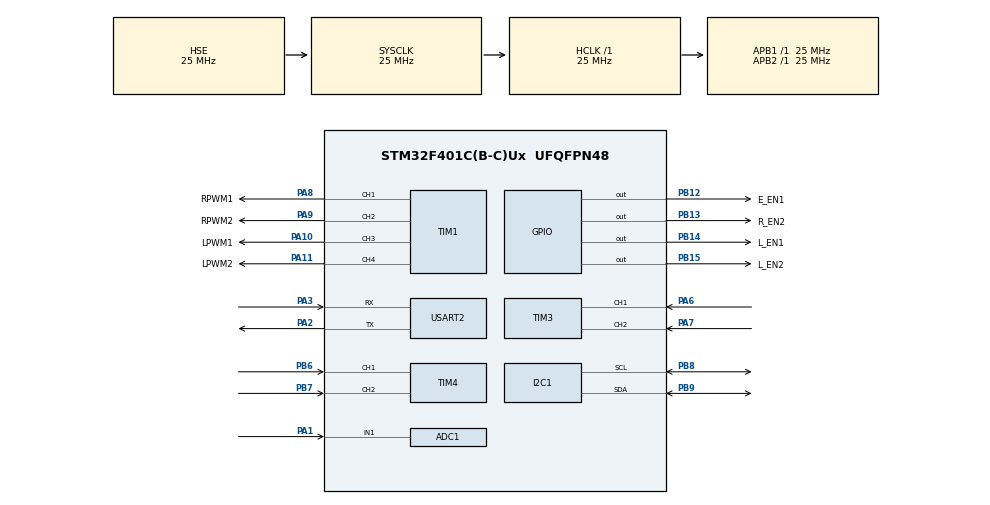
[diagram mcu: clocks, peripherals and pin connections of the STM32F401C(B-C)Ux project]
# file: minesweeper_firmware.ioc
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ADC1.Channel-0\#ChannelRegularConversion=ADC_CHANNEL_1
ADC1.NbrOfConversionFlag=1
ADC1.Rank-0\#ChannelRegularConversion=1
ADC1.SamplingTime-0\#ChannelRegularConversion=ADC_SAMPLETIME_3CYCLES
ADC1.master=1
Dma.Request0=USART2_TX
Dma.Request1=USART2_RX
Dma.USART2_RX.1.Direction=DMA_PERIPH_TO_MEMORY
Dma.USART2_RX.1.FIFOMode=DMA_FIFOMODE_DISABLE
Dma.USART2_RX.1.Instance=DMA1_Stream5
Dma.USART2_RX.1.MemDataAlignment=DMA_MDATAALIGN_BYTE
Dma.USART2_RX.1.MemInc=DMA_MINC_ENABLE
Dma.USART2_RX.1.Mode=DMA_CIRCULAR
Dma.USART2_RX.1.PeriphDataAlignment=DMA_PDATAALIGN_BYTE
Dma.USART2_RX.1.PeriphInc=DMA_PINC_DISABLE
Dma.USART2_RX.1.Priority=DMA_PRIORITY_LOW
Dma.USART2_TX.0.Direction=DMA_MEMORY_TO_PERIPH
Dma.USART2_TX.0.FIFOMode=DMA_FIFOMODE_DISABLE
Dma.USART2_TX.0.Instance=DMA1_Stream6
Dma.USART2_TX.0.MemDataAlignment=DMA_MDATAALIGN_BYTE
Dma.USART2_TX.0.MemInc=DMA_MINC_ENABLE
Dma.USART2_TX.0.Mode=DMA_NORMAL
Dma.USART2_TX.0.PeriphDataAlignment=DMA_PDATAALIGN_BYTE
Dma.USART2_TX.0.PeriphInc=DMA_PINC_DISABLE
Dma.USART2_TX.0.Priority=DMA_PRIORITY_LOW
Mcu.Family=STM32F4
Mcu.Name=STM32F401C(B-C)Ux
Mcu.Package=UFQFPN48
NVIC.DMA1_Stream5_IRQn=true\:0\:0\:false\:false\:true\:false\:true\:true
NVIC.DMA1_Stream6_IRQn=true\:0\:0\:false\:false\:true\:false\:true\:true
NVIC.PriorityGroup=NVIC_PRIORITYGROUP_4
NVIC.USART2_IRQn=true\:0\:0\:false\:false\:true\:true\:true\:true
PA1.Signal=ADCx_IN1
PA10.GPIO_Label=LPWM1
PA10.Signal=S_TIM1_CH3
PA11.GPIO_Label=LPWM2
PA11.Signal=S_TIM1_CH4
PA2.Mode=Asynchronous
PA2.Signal=USART2_TX
PA3.Mode=Asynchronous
PA3.Signal=USART2_RX
PA6.Signal=S_TIM3_CH1
PA7.Signal=S_TIM3_CH2
PA8.GPIO_Label=RPWM1
PA8.Signal=S_TIM1_CH1
PA9.GPIO_Label=RPWM2
PA9.Signal=S_TIM1_CH2
PB12.GPIO_Label=E_EN1
PB12.Signal=GPIO_Output
PB13.GPIO_Label=R_EN2
PB13.Signal=GPIO_Output
PB14.GPIO_Label=L_EN1
PB14.Signal=GPIO_Output
PB15.GPIO_Label=L_EN2
PB15.Signal=GPIO_Output
PB6.Signal=S_TIM4_CH1
PB7.Signal=S_TIM4_CH2
PB8.Mode=I2C
PB8.Signal=I2C1_SCL
PB9.Mode=I2C
PB9.Signal=I2C1_SDA
PH0\ -\ OSC_IN.Mode=HSE-External-Oscillator
PH0\ -\ OSC_IN.Signal=RCC_OSC_IN
PH1\ -\ OSC_OUT.Mode=HSE-External-Oscillator
PH1\ -\ OSC_OUT.Signal=RCC_OSC_OUT
ProjectManager.HeapSize=0x200
ProjectManager.StackSize=0x400
ProjectManager.TargetToolchain=STM32CubeIDE
RCC.AHBFreq_Value=25000000
RCC.APB1Freq_Value=25000000
RCC.APB1TimFreq_Value=25000000
RCC.APB2Freq_Value=25000000
RCC.APB2TimFreq_Value=25000000
RCC.CortexFreq_Value=25000000
RCC.HCLKFreq_Value=25000000
RCC.HSE_VALUE=25000000
RCC.HSI_VALUE=16000000
RCC.LSE_VALUE=32768
RCC.SYSCLKFreq_VALUE=25000000
RCC.SYSCLKSource=RCC_SYSCLKSOURCE_HSE
RCC.VCOOutputFreq_Value=192000000
SH.ADCx_IN1.0=ADC1_IN1,IN1
SH.S_TIM1_CH1.0=TIM1_CH1,PWM Generation1 CH1
SH.S_TIM1_CH2.0=TIM1_CH2,PWM Generation2 CH2
SH.S_TIM1_CH3.0=TIM1_CH3,PWM Generation3 CH3
SH.S_TIM1_CH4.0=TIM1_CH4,PWM Generation4 CH4
SH.S_TIM3_CH1.0=TIM3_CH1,Encoder_Interface
SH.S_TIM3_CH2.0=TIM3_CH2,Encoder_Interface
SH.S_TIM4_CH1.0=TIM4_CH1,Encoder_Interface
SH.S_TIM4_CH2.0=TIM4_CH2,Encoder_Interface
TIM1.Channel-PWM\ Generation1\ CH1=TIM_CHANNEL_1
TIM1.Channel-PWM\ Generation2\ CH2=TIM_CHANNEL_2
TIM1.Channel-PWM\ Generation3\ CH3=TIM_CHANNEL_3
TIM1.Channel-PWM\ Generation4\ CH4=TIM_CHANNEL_4
TIM3.AutoReloadPreload=TIM_AUTORELOAD_PRELOAD_ENABLE
TIM3.EncoderMode=TIM_ENCODERMODE_TI12
TIM4.AutoReloadPreload=TIM_AUTORELOAD_PRELOAD_ENABLE
TIM4.EncoderMode=TIM_ENCODERMODE_TI12
USART2.VirtualMode=VM_ASYNC
VP_TIM1_VS_ClockSourceINT.Mode=Internal
board=custom

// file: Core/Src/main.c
/* USER CODE BEGIN Header */
/**
  ******************************************************************************
  * @file           : main.c
  * @brief          : Main program body
  ******************************************************************************
  * @attention
  *
  * Copyright (c) 2026 STMicroelectronics.
  * All rights reserved.
  *
  * This software is licensed under terms that can be found in the LICENSE file
  * in the root directory of this software component.
  * If no LICENSE file comes with this software, it is provided AS-IS.
  *
  ******************************************************************************
  */
/* USER CODE END Header */
#include "../Inc/main.h"
#include <string.h>
#include <stddef.h>

/* USER CODE BEGIN Includes */
#include "../Inc/mpu6050.h"
#include "../Inc/cobs.h"
#include "../Inc/protocol.h"
/* USER CODE END Includes */

ADC_HandleTypeDef hadc1;

I2C_HandleTypeDef hi2c1;

TIM_HandleTypeDef htim1;
TIM_HandleTypeDef htim3;
TIM_HandleTypeDef htim4;

UART_HandleTypeDef huart2;
DMA_HandleTypeDef hdma_usart2_tx;
DMA_HandleTypeDef hdma_usart2_rx;

/* USER CODE BEGIN PV */

#define UART2_RX_BUFFER_SIZE 128U
#define TELEMETRY_PERIOD_MS 20U
#define COMMAND_WATCHDOG_MS 250U
#define METAL_DETECTOR_OVERSAMPLE_COUNT 8U
#define UART2_TX_BUFFER_SIZE (COBS_MAX_ENCODED_SIZE(sizeof(TelemetryPacket_t)) + 1U)

static uint8_t uart2_rx_buffer[UART2_RX_BUFFER_SIZE];
static uint8_t uart2_tx_buffer[UART2_TX_BUFFER_SIZE];
static volatile uint16_t uart2_rx_length;
static volatile uint8_t uart2_rx_ready;
static volatile uint8_t uart2_tx_busy;

static MPU6050_Data_t mpu6050_data;
static uint32_t telemetry_last_tick;
static uint8_t telemetry_seq;

static volatile int16_t command_left_duty;
static volatile int16_t command_right_duty;
static volatile uint32_t command_last_tick;

/* USER CODE END PV */

static uint16_t Read_Metal_Detector(void);
static void Apply_Motor_Command(int16_t left_duty, int16_t right_duty);
static void Process_Command_Frame(const uint8_t *frame, size_t len);
static void Send_Telemetry(void);
void SystemClock_Config(void);
static void MX_GPIO_Init(void);
static void MX_DMA_Init(void);
static void MX_ADC1_Init(void);
static void MX_I2C1_Init(void);
static void MX_TIM1_Init(void);
static void MX_TIM3_Init(void);
static void MX_TIM4_Init(void);
static void MX_USART2_UART_Init(void);

/* USER CODE BEGIN 0 */

static uint16_t Read_Metal_Detector(void)
{
  uint32_t accumulator = 0U;

  for (uint32_t i = 0U; i < METAL_DETECTOR_OVERSAMPLE_COUNT; i++)
  {
    HAL_ADC_Start(&hadc1);
    if (HAL_ADC_PollForConversion(&hadc1, 10U) == HAL_OK)
    {
      accumulator += HAL_ADC_GetValue(&hadc1);
    }
    HAL_ADC_Stop(&hadc1);
  }

  return (uint16_t)(accumulator / METAL_DETECTOR_OVERSAMPLE_COUNT);
}

/* TODO: drive TIM1 CCRx duty + E_EN1/R_EN2/L_EN1/L_EN2 direction pins once
 * the H-bridge wiring/polarity is confirmed. Left at a stub so the watchdog
 * has a safe (no-op today, zero-PWM once wired) target to call. */
static void Apply_Motor_Command(int16_t left_duty, int16_t right_duty)
{
  (void)left_duty;
  (void)right_duty;
}

static void Process_Command_Frame(const uint8_t *frame, size_t len)
{
  uint8_t decoded[sizeof(CommandPacket_t)];
  size_t decoded_len = cobs_decode(frame, len, decoded);
  CommandPacket_t cmd;
  uint8_t crc;

  if (decoded_len != sizeof(CommandPacket_t))
  {
    return;
  }

  memcpy(&cmd, decoded, sizeof(cmd));

  crc = protocol_crc8((const uint8_t *)&cmd, offsetof(CommandPacket_t, crc));
  if (crc != cmd.crc)
  {
    return;
  }

  command_left_duty = cmd.left_duty;
  command_right_duty = cmd.right_duty;
  command_last_tick = HAL_GetTick();

  Apply_Motor_Command(cmd.left_duty, cmd.right_duty);
}

static void Send_Telemetry(void)
{
  TelemetryPacket_t packet;
  size_t encoded_len;

  if (MPU6050_ReadAll(&hi2c1, MPU6050_ADDR_DEFAULT, &mpu6050_data) != HAL_OK)
  {
    return;
  }

  packet.seq = telemetry_seq++;
  packet.encoder_left = (int32_t)(int16_t)__HAL_TIM_GET_COUNTER(&htim4);
  packet.encoder_right = (int32_t)(int16_t)__HAL_TIM_GET_COUNTER(&htim3);
  packet.metal_detector_raw = Read_Metal_Detector();
  packet.accel_x_raw = mpu6050_data.accel_x_raw;
  packet.accel_y_raw = mpu6050_data.accel_y_raw;
  packet.accel_z_raw = mpu6050_data.accel_z_raw;
  packet.gyro_x_raw = mpu6050_data.gyro_x_raw;
  packet.gyro_y_raw = mpu6050_data.gyro_y_raw;
  packet.gyro_z_raw = mpu6050_data.gyro_z_raw;
  packet.crc = protocol_crc8((const uint8_t *)&packet, offsetof(TelemetryPacket_t, crc));

  encoded_len = cobs_encode((const uint8_t *)&packet, sizeof(packet), uart2_tx_buffer);
  uart2_tx_buffer[encoded_len++] = 0x00U; /* frame delimiter */

  uart2_tx_busy = 1U;
  if (HAL_UART_Transmit_DMA(&huart2, uart2_tx_buffer, (uint16_t)encoded_len) != HAL_OK)
  {
    uart2_tx_busy = 0U;
    Error_Handler();
  }
}

/* USER CODE END 0 */

int main(void)
{

  /* MCU Configuration--------------------------------------------------------*/

  /* Reset of all peripherals, Initializes the Flash interface and the Systick. */
  HAL_Init();

  /* Configure the system clock */
  SystemClock_Config();

  /* Initialize all configured peripherals */
  MX_GPIO_Init();
  MX_DMA_Init();
  MX_ADC1_Init();
  MX_I2C1_Init();
  MX_TIM1_Init();
  MX_TIM3_Init();
  MX_TIM4_Init();
  MX_USART2_UART_Init();
  /* USER CODE BEGIN 2 */

  if (HAL_UARTEx_ReceiveToIdle_DMA(&huart2, uart2_rx_buffer,
                                   UART2_RX_BUFFER_SIZE) != HAL_OK)
  {
    Error_Handler();
  }

  if (MPU6050_Init(&hi2c1, MPU6050_ADDR_DEFAULT) != HAL_OK)
  {
    Error_Handler();
  }
  telemetry_last_tick = HAL_GetTick();
  command_last_tick = HAL_GetTick();

  /* USER CODE END 2 */

  /* Infinite loop */
  while (1)
  {

    /* USER CODE BEGIN 3 */
    if (uart2_rx_ready != 0U)
    {
      uint8_t frame_copy[UART2_RX_BUFFER_SIZE];
      uint16_t rx_length = uart2_rx_length;
      size_t frame_start = 0U;
      size_t i;

      if (rx_length > UART2_RX_BUFFER_SIZE)
      {
        rx_length = UART2_RX_BUFFER_SIZE;
      }

      __disable_irq();
      memcpy(frame_copy, uart2_rx_buffer, rx_length);
      uart2_rx_ready = 0U;
      __enable_irq();

      /* Frames are COBS blocks delimited by 0x00; split and decode each one. */
      for (i = 0U; i < rx_length; i++)
      {
        if (frame_copy[i] == 0U)
        {
          if (i > frame_start)
          {
            Process_Command_Frame(&frame_copy[frame_start], i - frame_start);
          }
          frame_start = i + 1U;
        }
      }
    }

    if ((HAL_GetTick() - command_last_tick) >= COMMAND_WATCHDOG_MS)
    {
      Apply_Motor_Command(0, 0);
    }

    if (uart2_tx_busy == 0U &&
        (HAL_GetTick() - telemetry_last_tick) >= TELEMETRY_PERIOD_MS)
    {
      telemetry_last_tick = HAL_GetTick();
      Send_Telemetry();
    }
  }
  /* USER CODE END 3 */
}

void SystemClock_Config(void)
{
  RCC_OscInitTypeDef RCC_OscInitStruct = {0};
  RCC_ClkInitTypeDef RCC_ClkInitStruct = {0};

  /** Configure the main internal regulator output voltage
  */
  __HAL_RCC_PWR_CLK_ENABLE();
  __HAL_PWR_VOLTAGESCALING_CONFIG(PWR_REGULATOR_VOLTAGE_SCALE2);

  /** Initializes the RCC Oscillators according to the specified parameters
  * in the RCC_OscInitTypeDef structure.
  */
  RCC_OscInitStruct.OscillatorType = RCC_OSCILLATORTYPE_HSE;
  RCC_OscInitStruct.HSEState = RCC_HSE_ON;
  RCC_OscInitStruct.PLL.PLLState = RCC_PLL_NONE;
  if (HAL_RCC_OscConfig(&RCC_OscInitStruct) != HAL_OK)
  {
    Error_Handler();
  }

  /** Initializes the CPU, AHB and APB buses clocks
  */
  RCC_ClkInitStruct.ClockType = RCC_CLOCKTYPE_HCLK|RCC_CLOCKTYPE_SYSCLK
                              |RCC_CLOCKTYPE_PCLK1|RCC_CLOCKTYPE_PCLK2;
  RCC_ClkInitStruct.SYSCLKSource = RCC_SYSCLKSOURCE_HSE;
  RCC_ClkInitStruct.AHBCLKDivider = RCC_SYSCLK_DIV1;
  RCC_ClkInitStruct.APB1CLKDivider = RCC_HCLK_DIV1;
  RCC_ClkInitStruct.APB2CLKDivider = RCC_HCLK_DIV1;

  if (HAL_RCC_ClockConfig(&RCC_ClkInitStruct, FLASH_LATENCY_0) != HAL_OK)
  {
    Error_Handler();
  }
}

static void MX_ADC1_Init(void)
{

  ADC_ChannelConfTypeDef sConfig = {0};

  /** Configure the global features of the ADC (Clock, Resolution, Data Alignment and number of conversion)
  */
  hadc1.Instance = ADC1;
  hadc1.Init.ClockPrescaler = ADC_CLOCK_SYNC_PCLK_DIV2;
  hadc1.Init.Resolution = ADC_RESOLUTION_12B;
  hadc1.Init.ScanConvMode = DISABLE;
  hadc1.Init.ContinuousConvMode = DISABLE;
  hadc1.Init.DiscontinuousConvMode = DISABLE;
  hadc1.Init.ExternalTrigConvEdge = ADC_EXTERNALTRIGCONVEDGE_NONE;
  hadc1.Init.ExternalTrigConv = ADC_SOFTWARE_START;
  hadc1.Init.DataAlign = ADC_DATAALIGN_RIGHT;
  hadc1.Init.NbrOfConversion = 1;
  hadc1.Init.DMAContinuousRequests = DISABLE;
  hadc1.Init.EOCSelection = ADC_EOC_SINGLE_CONV;
  if (HAL_ADC_Init(&hadc1) != HAL_OK)
  {
    Error_Handler();
  }

  /** Configure for the selected ADC regular channel its corresponding rank in the sequencer and its sample time.
  */
  sConfig.Channel = ADC_CHANNEL_1;
  sConfig.Rank = 1;
  sConfig.SamplingTime = ADC_SAMPLETIME_3CYCLES;
  if (HAL_ADC_ConfigChannel(&hadc1, &sConfig) != HAL_OK)
  {
    Error_Handler();
  }

}

static void MX_I2C1_Init(void)
{

  hi2c1.Instance = I2C1;
  hi2c1.Init.ClockSpeed = 100000;
  hi2c1.Init.DutyCycle = I2C_DUTYCYCLE_2;
  hi2c1.Init.OwnAddress1 = 0;
  hi2c1.Init.AddressingMode = I2C_ADDRESSINGMODE_7BIT;
  hi2c1.Init.DualAddressMode = I2C_DUALADDRESS_DISABLE;
  hi2c1.Init.OwnAddress2 = 0;
  hi2c1.Init.GeneralCallMode = I2C_GENERALCALL_DISABLE;
  hi2c1.Init.NoStretchMode = I2C_NOSTRETCH_DISABLE;
  if (HAL_I2C_Init(&hi2c1) != HAL_OK)
  {
    Error_Handler();
  }

}

static void MX_TIM1_Init(void)
{

  TIM_ClockConfigTypeDef sClockSourceConfig = {0};
  TIM_MasterConfigTypeDef sMasterConfig = {0};
  TIM_OC_InitTypeDef sConfigOC = {0};
  TIM_BreakDeadTimeConfigTypeDef sBreakDeadTimeConfig = {0};

  htim1.Instance = TIM1;
  htim1.Init.Prescaler = 0;
  htim1.Init.CounterMode = TIM_COUNTERMODE_UP;
  htim1.Init.Period = 65535;
  htim1.Init.ClockDivision = TIM_CLOCKDIVISION_DIV1;
  htim1.Init.RepetitionCounter = 0;
  htim1.Init.AutoReloadPreload = TIM_AUTORELOAD_PRELOAD_DISABLE;
  if (HAL_TIM_Base_Init(&htim1) != HAL_OK)
  {
    Error_Handler();
  }
  sClockSourceConfig.ClockSource = TIM_CLOCKSOURCE_INTERNAL;
  if (HAL_TIM_ConfigClockSource(&htim1, &sClockSourceConfig) != HAL_OK)
  {
    Error_Handler();
  }
  if (HAL_TIM_PWM_Init(&htim1) != HAL_OK)
  {
    Error_Handler();
  }
  sMasterConfig.MasterOutputTrigger = TIM_TRGO_RESET;
  sMasterConfig.MasterSlaveMode = TIM_MASTERSLAVEMODE_DISABLE;
  if (HAL_TIMEx_MasterConfigSynchronization(&htim1, &sMasterConfig) != HAL_OK)
  {
    Error_Handler();
  }
  sConfigOC.OCMode = TIM_OCMODE_PWM1;
  sConfigOC.Pulse = 0;
  sConfigOC.OCPolarity = TIM_OCPOLARITY_HIGH;
  sConfigOC.OCNPolarity = TIM_OCNPOLARITY_HIGH;
  sConfigOC.OCFastMode = TIM_OCFAST_DISABLE;
  sConfigOC.OCIdleState = TIM_OCIDLESTATE_RESET;
  sConfigOC.OCNIdleState = TIM_OCNIDLESTATE_RESET;
  if (HAL_TIM_PWM_ConfigChannel(&htim1, &sConfigOC, TIM_CHANNEL_1) != HAL_OK)
  {
    Error_Handler();
  }
  if (HAL_TIM_PWM_ConfigChannel(&htim1, &sConfigOC, TIM_CHANNEL_2) != HAL_OK)
  {
    Error_Handler();
  }
  if (HAL_TIM_PWM_ConfigChannel(&htim1, &sConfigOC, TIM_CHANNEL_3) != HAL_OK)
  {
    Error_Handler();
  }
  if (HAL_TIM_PWM_ConfigChannel(&htim1, &sConfigOC, TIM_CHANNEL_4) != HAL_OK)
  {
    Error_Handler();
  }
  sBreakDeadTimeConfig.OffStateRunMode = TIM_OSSR_DISABLE;
  sBreakDeadTimeConfig.OffStateIDLEMode = TIM_OSSI_DISABLE;
  sBreakDeadTimeConfig.LockLevel = TIM_LOCKLEVEL_OFF;
  sBreakDeadTimeConfig.DeadTime = 0;
  sBreakDeadTimeConfig.BreakState = TIM_BREAK_DISABLE;
  sBreakDeadTimeConfig.BreakPolarity = TIM_BREAKPOLARITY_HIGH;
  sBreakDeadTimeConfig.AutomaticOutput = TIM_AUTOMATICOUTPUT_DISABLE;
  if (HAL_TIMEx_ConfigBreakDeadTime(&htim1, &sBreakDeadTimeConfig) != HAL_OK)
  {
    Error_Handler();
  }
  HAL_TIM_MspPostInit(&htim1);

}

static void MX_TIM3_Init(void)
{

  TIM_Encoder_InitTypeDef sConfig = {0};
  TIM_MasterConfigTypeDef sMasterConfig = {0};

  htim3.Instance = TIM3;
  htim3.Init.Prescaler = 0;
  htim3.Init.CounterMode = TIM_COUNTERMODE_UP;
  htim3.Init.Period = 65535;
  htim3.Init.ClockDivision = TIM_CLOCKDIVISION_DIV1;
  htim3.Init.AutoReloadPreload = TIM_AUTORELOAD_PRELOAD_ENABLE;
  sConfig.EncoderMode = TIM_ENCODERMODE_TI12;
  sConfig.IC1Polarity = TIM_ICPOLARITY_RISING;
  sConfig.IC1Selection = TIM_ICSELECTION_DIRECTTI;
  sConfig.IC1Prescaler = TIM_ICPSC_DIV1;
  sConfig.IC1Filter = 0;
  sConfig.IC2Polarity = TIM_ICPOLARITY_RISING;
  sConfig.IC2Selection = TIM_ICSELECTION_DIRECTTI;
  sConfig.IC2Prescaler = TIM_ICPSC_DIV1;
  sConfig.IC2Filter = 0;
  if (HAL_TIM_Encoder_Init(&htim3, &sConfig) != HAL_OK)
  {
    Error_Handler();
  }
  sMasterConfig.MasterOutputTrigger = TIM_TRGO_RESET;
  sMasterConfig.MasterSlaveMode = TIM_MASTERSLAVEMODE_DISABLE;
  if (HAL_TIMEx_MasterConfigSynchronization(&htim3, &sMasterConfig) != HAL_OK)
  {
    Error_Handler();
  }

}

static void MX_TIM4_Init(void)
{

  TIM_Encoder_InitTypeDef sConfig = {0};
  TIM_MasterConfigTypeDef sMasterConfig = {0};

  htim4.Instance = TIM4;
  htim4.Init.Prescaler = 0;
  htim4.Init.CounterMode = TIM_COUNTERMODE_UP;
  htim4.Init.Period = 65535;
  htim4.Init.ClockDivision = TIM_CLOCKDIVISION_DIV1;
  htim4.Init.AutoReloadPreload = TIM_AUTORELOAD_PRELOAD_ENABLE;
  sConfig.EncoderMode = TIM_ENCODERMODE_TI12;
  sConfig.IC1Polarity = TIM_ICPOLARITY_RISING;
  sConfig.IC1Selection = TIM_ICSELECTION_DIRECTTI;
  sConfig.IC1Prescaler = TIM_ICPSC_DIV1;
  sConfig.IC1Filter = 0;
  sConfig.IC2Polarity = TIM_ICPOLARITY_RISING;
  sConfig.IC2Selection = TIM_ICSELECTION_DIRECTTI;
  sConfig.IC2Prescaler = TIM_ICPSC_DIV1;
  sConfig.IC2Filter = 0;
  if (HAL_TIM_Encoder_Init(&htim4, &sConfig) != HAL_OK)
  {
    Error_Handler();
  }
  sMasterConfig.MasterOutputTrigger = TIM_TRGO_RESET;
  sMasterConfig.MasterSlaveMode = TIM_MASTERSLAVEMODE_DISABLE;
  if (HAL_TIMEx_MasterConfigSynchronization(&htim4, &sMasterConfig) != HAL_OK)
  {
    Error_Handler();
  }

}

static void MX_USART2_UART_Init(void)
{

  huart2.Instance = USART2;
  huart2.Init.BaudRate = 115200;
  huart2.Init.WordLength = UART_WORDLENGTH_8B;
  huart2.Init.StopBits = UART_STOPBITS_1;
  huart2.Init.Parity = UART_PARITY_NONE;
  huart2.Init.Mode = UART_MODE_TX_RX;
  huart2.Init.HwFlowCtl = UART_HWCONTROL_NONE;
  huart2.Init.OverSampling = UART_OVERSAMPLING_16;
  if (HAL_UART_Init(&huart2) != HAL_OK)
  {
    Error_Handler();
  }

}

static void MX_DMA_Init(void)
{

  /* DMA controller clock enable */
  __HAL_RCC_DMA1_CLK_ENABLE();

  /* DMA interrupt init */
  /* DMA1_Stream5_IRQn interrupt configuration */
  HAL_NVIC_SetPriority(DMA1_Stream5_IRQn, 0, 0);
  HAL_NVIC_EnableIRQ(DMA1_Stream5_IRQn);
  /* DMA1_Stream6_IRQn interrupt configuration */
  HAL_NVIC_SetPriority(DMA1_Stream6_IRQn, 0, 0);
  HAL_NVIC_EnableIRQ(DMA1_Stream6_IRQn);

}

static void MX_GPIO_Init(void)
{
  GPIO_InitTypeDef GPIO_InitStruct = {0};

  /* GPIO Ports Clock Enable */
  __HAL_RCC_GPIOH_CLK_ENABLE();
  __HAL_RCC_GPIOA_CLK_ENABLE();
  __HAL_RCC_GPIOB_CLK_ENABLE();

  /*Configure GPIO pin Output Level */
  HAL_GPIO_WritePin(GPIOB, E_EN1_Pin|R_EN2_Pin|L_EN1_Pin|L_EN2_Pin, GPIO_PIN_RESET);

  /*Configure GPIO pins : E_EN1_Pin R_EN2_Pin L_EN1_Pin L_EN2_Pin */
  GPIO_InitStruct.Pin = E_EN1_Pin|R_EN2_Pin|L_EN1_Pin|L_EN2_Pin;
  GPIO_InitStruct.Mode = GPIO_MODE_OUTPUT_PP;
  GPIO_InitStruct.Pull = GPIO_NOPULL;
  GPIO_InitStruct.Speed = GPIO_SPEED_FREQ_LOW;
  HAL_GPIO_Init(GPIOB, &GPIO_InitStruct);

}

/* USER CODE BEGIN 4 */

void HAL_UARTEx_RxEventCallback(UART_HandleTypeDef *huart, uint16_t Size)
{
  if (huart->Instance == USART2)
  {
    uart2_rx_length = Size;
    uart2_rx_ready = 1U;
    /* Restart reception from the start of the buffer so the next frame does
     * not have to wait for this one to be fully drained. */
    HAL_UARTEx_ReceiveToIdle_DMA(&huart2, uart2_rx_buffer, UART2_RX_BUFFER_SIZE);
  }
}

void HAL_UART_TxCpltCallback(UART_HandleTypeDef *huart)
{
  if (huart->Instance == USART2)
  {
    uart2_tx_busy = 0U;
  }
}

/* USER CODE END 4 */

void Error_Handler(void)
{
  __disable_irq();
  while (1)
  {
  }
}
